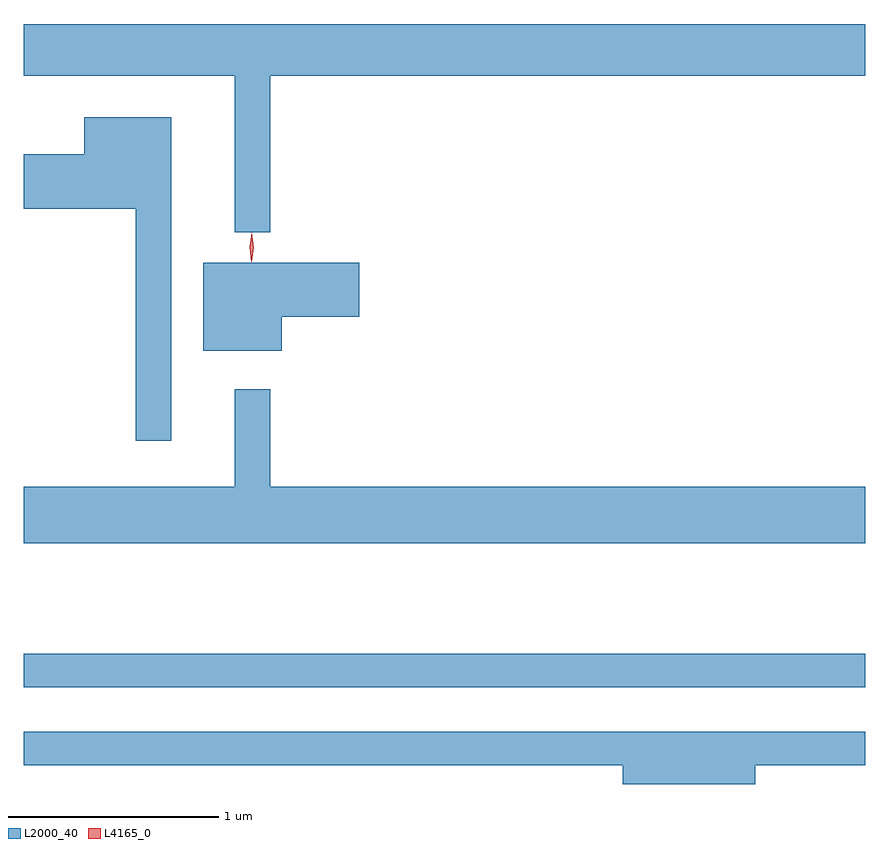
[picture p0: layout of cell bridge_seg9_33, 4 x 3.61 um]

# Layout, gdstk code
import gdstk
lib = gdstk.Library(unit=1e-6, precision=1e-09)
def R(c, l, rs):  # rectangles x0, y0, x1, y1
    for r in rs: c.add(gdstk.rectangle(r[:2], r[2:], *l))
def P(c, l, *ps):  # polygons
    for p in ps: c.add(gdstk.Polygon(p, *l))
L2000_40 = (2000, 40)
L4165_0 = (4165, 0)

bridge_seg9_33 = lib.new_cell('bridge_seg9_33')
R(bridge_seg9_33, L2000_40, [(1595.108,2044.411,1599.108,2044.569)])
P(bridge_seg9_33, L2000_40, [(1596.279,2047.316),(1599.108,2047.316),(1599.108,2047.563),(1595.108,2047.563),(1595.108,2047.316),(1596.111,2047.316),(1596.111,2046.573),(1596.279,2046.573)],
  [(1595.809,2047.119),(1595.396,2047.119),(1595.396,2046.944),(1595.108,2046.944),(1595.108,2046.686),(1595.641,2046.686),(1595.641,2045.583),(1595.809,2045.583)],
  [(1596.334,2046.171),(1596.704,2046.171),(1596.704,2046.429),(1595.961,2046.429),(1595.961,2046.011),(1596.334,2046.011)],
  [(1599.108,2045.364),(1596.279,2045.364),(1596.279,2045.828),(1596.111,2045.828),(1596.111,2045.364),(1595.108,2045.364),(1595.108,2045.096),(1599.108,2045.096)],
  [(1598.584,2044.041),(1599.108,2044.041),(1599.108,2044.199),(1595.108,2044.199),(1595.108,2044.041),(1597.956,2044.041),(1597.956,2043.951),(1598.584,2043.951)])
P(bridge_seg9_33, L4165_0, [(1596.19,2046.434),(1596.182,2046.502),(1596.192,2046.57),(1596.192,2046.57),(1596.193,2046.57),(1596.202,2046.502),(1596.192,2046.434),(1596.191,2046.434)],
  [(1596.19,2046.44),(1596.19,2046.441),(1596.182,2046.504),(1596.192,2046.566),(1596.192,2046.567),(1596.193,2046.566),(1596.202,2046.503),(1596.191,2046.441)])

lib.write_gds('bridge_seg9_33.gds')
